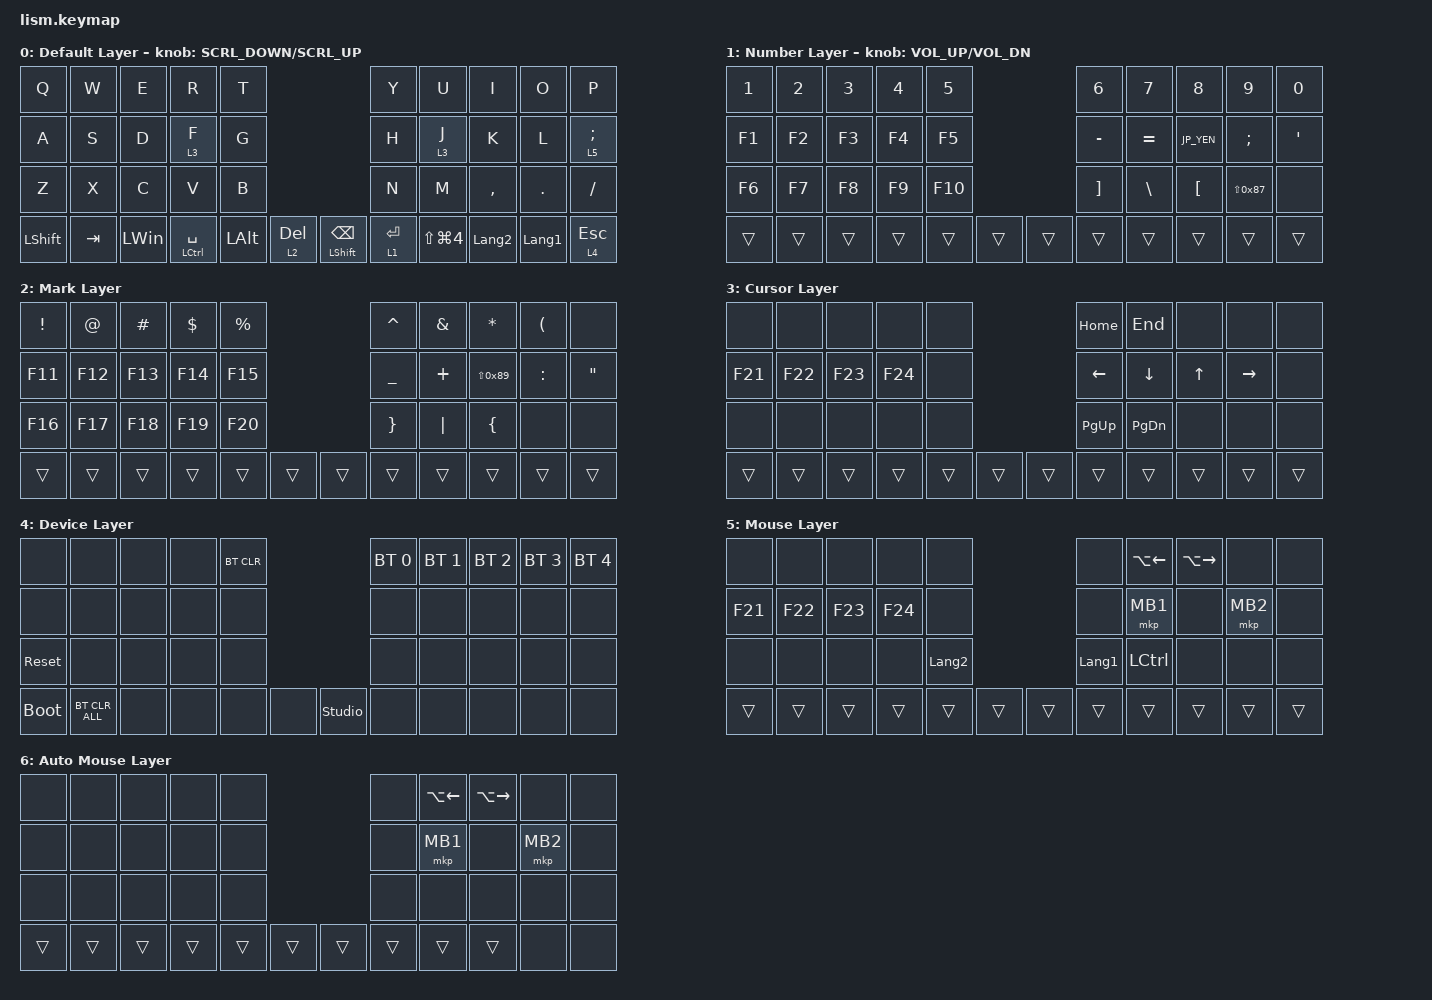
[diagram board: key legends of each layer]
#define ZMK_POINTING_DEFAULT_SCRL_VAL 200

#include <dt-bindings/zmk/mouse.h>
#include <behaviors.dtsi>
#include <dt-bindings/zmk/bt.h>
#include <dt-bindings/zmk/keys.h>
#include <dt-bindings/zmk/pointing.h>

// OS設定を日本語キーボードのまま使用するための変換定義

#define JP_DQUOTE       AT                // "
#define JP_AMPERSAND    CARET             // &
#define JP_QUOTE        AMPERSAND         // '
#define JP_EQUAL        UNDER             // =
#define JP_CARET        EQUAL             // ^
#define JP_YEN          0x89              // ¥
#define JP_PLUS         COLON             // +
#define JP_TILDE        PLUS              // ~
#define JP_PIPE         LS(0x89)          // |
#define JP_AT           LEFT_BRACKET      // @
#define JP_COLON        SINGLE_QUOTE      // :
#define JP_ASTERISK     DOUBLE_QUOTES     // *
#define JP_BACKQUOTE    LEFT_BRACE        // `
#define JP_UNDERSCORE   LS(0x87)          // _
#define JP_LBRACKET     RIGHT_BRACKET     // [
#define JP_RBRACKET     BACKSLASH         // ]
#define JP_LPAREN       ASTERISK          // (
#define JP_RPAREN       LEFT_PARENTHESIS  // )
#define JP_LBRACE       RIGHT_BRACE       // {
#define JP_RBRACE       PIPE              // }
#define JP_KANA         LANGUAGE_1        // かな
#define JP_EISU         LANGUAGE_2        // 英数
#define JP_HANZEN       GRAVE             // 半角/全角

&mt {
    tapping-term-ms = <180>;
    flavor = "balanced";
    quick-tap-ms = <250>; 
};

&lt { quick-tap-ms = <250>; };

/ {
    macros {
        emoji: emoji_macro {
            compatible = "zmk,behavior-macro";
            label = "EMOJI";
            #binding-cells = <0>;
            bindings =
                <&macro_press>,
                <&kp CAPSLOCK>,
                <&macro_tap>,
                <&kp E>,
                <&macro_release>,
                <&kp CAPSLOCK>;
        };
    };

    behaviors {
        encoder_msc: sensor_rotate_msc {
            compatible = "zmk,behavior-sensor-rotate-var";
            #sensor-binding-cells = <2>;
            bindings = <&msc>, <&msc>;

            tap-ms = <20>;
        };

        encoder_kp: sensor_rotate_kp {
            compatible = "zmk,behavior-sensor-rotate-var";
            #sensor-binding-cells = <2>;
            bindings = <&kp>, <&kp>;
        };
    };

    keymap {
        compatible = "zmk,keymap";

        default_layer {
            display-name = "Default Layer";
            bindings = <
&kp Q           &kp W    &kp E         &kp R            &kp T                                                &kp Y        &kp U           &kp I        &kp O        &kp P
&kp A           &kp S    &kp D         &lt 3 F          &kp G                                                &kp H        &lt 3 J         &kp K        &kp L        &lt 5 SEMICOLON
&kp Z           &kp X    &kp C         &kp V            &kp B                                                &kp N        &kp M           &kp COMMA    &kp DOT      &kp SLASH
&kp LEFT_SHIFT  &kp TAB  &kp LEFT_WIN  &mt LCTRL SPACE  &kp LEFT_ALT  &lt 2 DEL    &mt LEFT_SHIFT BACKSPACE  &lt 1 ENTER  &kp LS(LG(N4))  &kp JP_EISU  &kp JP_KANA  &lt 4 ESC
            >;

            sensor-bindings = <&encoder_msc SCRL_DOWN SCRL_UP>;
        };

        layer_1 {
            display-name = "Number Layer";
            bindings = <
&kp NUMBER_1  &kp NUMBER_2  &kp NUMBER_3  &kp NUMBER_4  &kp N5                     &kp NUMBER_6      &kp N7           &kp N8      &kp N9             &kp N0
&kp F1        &kp F2        &kp F3        &kp F4        &kp F5                     &kp MINUS         &kp JP_CARET     &kp JP_YEN  &kp SEMICOLON      &kp JP_COLON
&kp F6        &kp F7        &kp F8        &kp F9        &kp F10                    &kp JP_LBRACKET   &kp JP_RBRACKET  &kp JP_AT   &kp JP_UNDERSCORE  &none
&trans        &trans        &trans        &trans        &trans   &trans    &trans  &trans            &trans           &trans      &trans             &trans
            >;

            sensor-bindings = <&encoder_kp C_VOL_UP C_VOL_DN>;
        };

        layer_2 {
            display-name = "Mark Layer";
            bindings = <
&kp EXCLAMATION  &kp JP_DQUOTE      &kp HASH  &kp DOLLAR  &kp PERCENT                    &kp JP_AMPERSAND   &kp JP_QUOTE   &kp JP_LPAREN     &kp JP_RPAREN   &none
&kp F11          &kp F12            &kp F13   &kp F14     &kp F15                        &kp JP_EQUAL       &kp JP_TILDE   &kp JP_PIPE       &kp JP_PLUS     &kp JP_ASTERISK
&kp F16          &kp F17            &kp F18   &kp F19     &kp F20                        &kp JP_LBRACE      &kp JP_RBRACE  &kp JP_BACKQUOTE  &none           &none
&trans           &trans             &trans    &trans      &trans       &trans    &trans  &trans             &trans         &trans            &trans          &trans
            >;
        };

        layer_3 {
            display-name = "Cursor Layer";
            bindings = <
&none    &none    &none    &none    &none                     &kp HOME        &kp END         &none         &none            &none
&kp F21  &kp F22  &kp F23  &kp F24  &none                     &kp LEFT_ARROW  &kp DOWN_ARROW  &kp UP_ARROW  &kp RIGHT_ARROW  &none
&none    &none    &none    &none    &none                     &kp PAGE_UP     &kp PAGE_DOWN   &none         &none            &none
&trans   &trans   &trans   &trans   &trans  &trans    &trans  &trans          &trans          &trans        &trans           &trans
            >;
        };

        layer_4 {
            display-name = "Device Layer";
            bindings = <
&none        &none           &none  &none  &bt BT_CLR                           &bt BT_SEL 0  &bt BT_SEL 1  &bt BT_SEL 2  &bt BT_SEL 3  &bt BT_SEL 4
&none        &none           &none  &none  &none                                &none         &none         &none         &none         &none
&sys_reset   &none           &none  &none  &none                                &none         &none         &none         &none         &none
&bootloader  &bt BT_CLR_ALL  &none  &none  &none       &none    &studio_unlock  &none         &none         &none         &none         &none
            >;
        };

        layer_5 {
            display-name = "Mouse Layer";
            bindings = <
&none    &none    &none    &none    &none                          &none          &kp LA(LEFT)  &kp LA(RIGHT)  &none     &none
&kp F21  &kp F22  &kp F23  &kp F24  &none                          &none          &mkp MB1      &none          &mkp MB2  &none
&none    &none    &none    &none    &kp JP_EISU                    &kp JP_KANA    &kp LCTRL     &none          &none     &none
&trans   &trans   &trans   &trans   &trans       &trans    &trans  &trans         &trans        &trans         &trans    &trans
            >;
        };
  
        layer_6 {
            display-name = "Auto Mouse Layer";
            bindings = <
&none   &none   &none   &none   &none                     &none   &kp LA(LEFT)  &kp LA(RIGHT)  &none     &none
&none   &none   &none   &none   &none                     &none   &mkp MB1      &none          &mkp MB2  &none
&none   &none   &none   &none   &none                     &none   &none         &none          &none     &none
&trans  &trans  &trans  &trans  &trans  &trans    &trans  &trans  &trans        &trans         &none     &none
            >;
        };

        layer_7 {
            status = "reserved";
            display-name = "Brank Layer";
            bindings = <
&trans  &trans  &trans  &trans  &trans                    &trans  &trans  &trans  &trans  &trans
&trans  &trans  &trans  &trans  &trans                    &trans  &trans  &trans  &trans  &trans
&trans  &trans  &trans  &trans  &trans                    &trans  &trans  &trans  &trans  &trans
&trans  &trans  &trans  &trans  &trans  &trans    &trans  &trans  &trans  &trans  &trans  &trans
            >;
        };
    };
};
